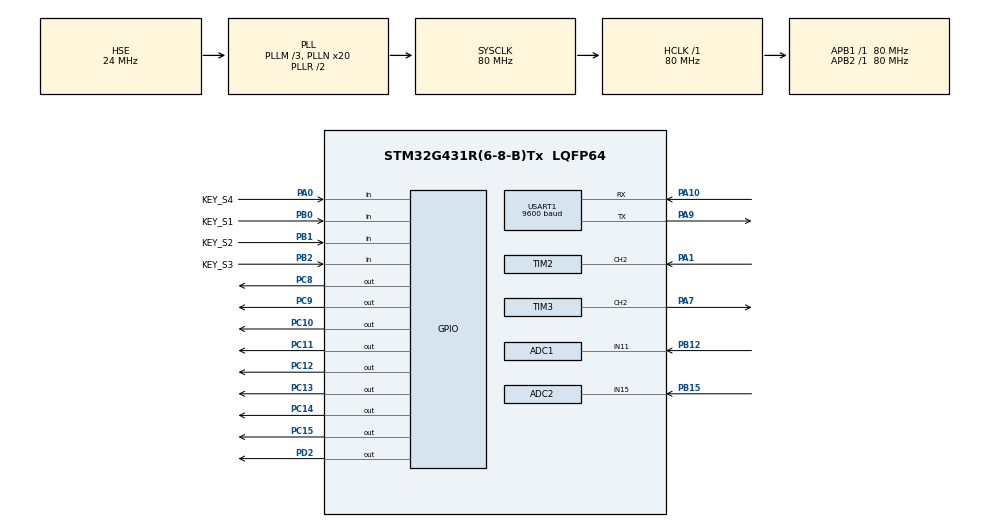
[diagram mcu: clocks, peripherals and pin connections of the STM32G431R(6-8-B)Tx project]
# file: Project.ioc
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ADC1.Channel-0\#ChannelRegularConversion=ADC_CHANNEL_11
ADC1.ContinuousConvMode=ENABLE
ADC1.NbrOfConversionFlag=1
ADC1.OffsetNumber-0\#ChannelRegularConversion=ADC_OFFSET_NONE
ADC1.Overrun=ADC_OVR_DATA_OVERWRITTEN
ADC1.Rank-0\#ChannelRegularConversion=1
ADC1.SamplingTime-0\#ChannelRegularConversion=ADC_SAMPLETIME_2CYCLES_5
ADC1.master=1
ADC2.Channel-0\#ChannelRegularConversion=ADC_CHANNEL_15
ADC2.ContinuousConvMode=ENABLE
ADC2.NbrOfConversionFlag=1
ADC2.OffsetNumber-0\#ChannelRegularConversion=ADC_OFFSET_NONE
ADC2.Overrun=ADC_OVR_DATA_OVERWRITTEN
ADC2.Rank-0\#ChannelRegularConversion=1
ADC2.SamplingTime-0\#ChannelRegularConversion=ADC_SAMPLETIME_2CYCLES_5
Dma.Request0=USART1_TX
Dma.Request1=USART1_RX
Dma.USART1_RX.1.Direction=DMA_PERIPH_TO_MEMORY
Dma.USART1_RX.1.EventEnable=DISABLE
Dma.USART1_RX.1.Instance=DMA1_Channel2
Dma.USART1_RX.1.MemDataAlignment=DMA_MDATAALIGN_BYTE
Dma.USART1_RX.1.MemInc=DMA_MINC_ENABLE
Dma.USART1_RX.1.Mode=DMA_NORMAL
Dma.USART1_RX.1.PeriphDataAlignment=DMA_PDATAALIGN_BYTE
Dma.USART1_RX.1.PeriphInc=DMA_PINC_DISABLE
Dma.USART1_RX.1.Polarity=HAL_DMAMUX_REQ_GEN_RISING
Dma.USART1_RX.1.Priority=DMA_PRIORITY_LOW
Dma.USART1_RX.1.RequestNumber=1
Dma.USART1_RX.1.SignalID=NONE
Dma.USART1_RX.1.SyncEnable=DISABLE
Dma.USART1_RX.1.SyncPolarity=HAL_DMAMUX_SYNC_NO_EVENT
Dma.USART1_RX.1.SyncRequestNumber=1
Dma.USART1_RX.1.SyncSignalID=NONE
Dma.USART1_TX.0.Direction=DMA_MEMORY_TO_PERIPH
Dma.USART1_TX.0.EventEnable=DISABLE
Dma.USART1_TX.0.Instance=DMA1_Channel1
Dma.USART1_TX.0.MemDataAlignment=DMA_MDATAALIGN_BYTE
Dma.USART1_TX.0.MemInc=DMA_MINC_ENABLE
Dma.USART1_TX.0.Mode=DMA_NORMAL
Dma.USART1_TX.0.PeriphDataAlignment=DMA_PDATAALIGN_BYTE
Dma.USART1_TX.0.PeriphInc=DMA_PINC_DISABLE
Dma.USART1_TX.0.Polarity=HAL_DMAMUX_REQ_GEN_RISING
Dma.USART1_TX.0.Priority=DMA_PRIORITY_LOW
Dma.USART1_TX.0.RequestNumber=1
Dma.USART1_TX.0.SignalID=NONE
Dma.USART1_TX.0.SyncEnable=DISABLE
Dma.USART1_TX.0.SyncPolarity=HAL_DMAMUX_SYNC_NO_EVENT
Dma.USART1_TX.0.SyncRequestNumber=1
Dma.USART1_TX.0.SyncSignalID=NONE
Mcu.Family=STM32G4
Mcu.Name=STM32G431R(6-8-B)Tx
Mcu.Package=LQFP64
NVIC.DMA1_Channel1_IRQn=true\:0\:0\:false\:false\:true\:false\:true\:true
NVIC.DMA1_Channel2_IRQn=true\:0\:0\:false\:false\:true\:false\:true\:true
NVIC.PriorityGroup=NVIC_PRIORITYGROUP_4
NVIC.TIM1_TRG_COM_TIM17_IRQn=true\:1\:0\:true\:false\:true\:true\:true\:true
NVIC.USART1_IRQn=true\:0\:0\:false\:false\:true\:true\:true\:true
PA0.GPIO_Label=KEY_S4
PA0.Signal=GPIO_Input
PA1.Signal=S_TIM2_CH2
PA10.Mode=Asynchronous
PA10.Signal=USART1_RX
PA13.Mode=Serial_Wire
PA13.Signal=SYS_JTMS-SWDIO
PA14.Mode=Serial_Wire
PA14.Signal=SYS_JTCK-SWCLK
PA7.Signal=S_TIM3_CH2
PA9.Mode=Asynchronous
PA9.Signal=USART1_TX
PB0.GPIO_Label=KEY_S1
PB0.Signal=GPIO_Input
PB1.GPIO_Label=KEY_S2
PB1.Signal=GPIO_Input
PB12.Mode=IN11-Single-Ended
PB12.Signal=ADC1_IN11
PB15.Mode=IN15-Single-Ended
PB15.Signal=ADC2_IN15
PB2.GPIO_Label=KEY_S3
PB2.Signal=GPIO_Input
PC10.Signal=GPIO_Output
PC11.Signal=GPIO_Output
PC12.Signal=GPIO_Output
PC13.Signal=GPIO_Output
PC14-OSC32_IN.Signal=GPIO_Output
PC15-OSC32_OUT.Signal=GPIO_Output
PC8.Signal=GPIO_Output
PC9.Signal=GPIO_Output
PD2.Signal=GPIO_Output
PF0-OSC_IN.Mode=HSE-External-Oscillator
PF0-OSC_IN.Signal=RCC_OSC_IN
PF1-OSC_OUT.Mode=HSE-External-Oscillator
PF1-OSC_OUT.Signal=RCC_OSC_OUT
ProjectManager.HeapSize=0x0
ProjectManager.StackSize=0x1000
ProjectManager.TargetToolchain=MDK-ARM V5.32
RCC.ADC12Freq_Value=80000000
RCC.AHBFreq_Value=80000000
RCC.APB1Freq_Value=80000000
RCC.APB1TimFreq_Value=80000000
RCC.APB2Freq_Value=80000000
RCC.APB2TimFreq_Value=80000000
RCC.CortexFreq_Value=80000000
RCC.EXTERNAL_CLOCK_VALUE=12288000
RCC.HCLKFreq_Value=80000000
RCC.HSE_VALUE=24000000
RCC.HSI48_VALUE=48000000
RCC.HSI_VALUE=16000000
RCC.LSE_VALUE=32768
RCC.PLLM=RCC_PLLM_DIV3
RCC.PLLN=20
RCC.PLLSourceVirtual=RCC_PLLSOURCE_HSE
RCC.SYSCLKFreq_VALUE=80000000
RCC.SYSCLKSource=RCC_SYSCLKSOURCE_PLLCLK
RCC.USBFreq_Value=80000000
RCC.VCOOutputFreq_Value=160000000
SH.S_TIM2_CH2.0=TIM2_CH2,PWM_Input_2
SH.S_TIM3_CH2.0=TIM3_CH2,PWM Generation2 CH2
TIM17.PeriodNoDither=9999
TIM17.Prescaler=79
TIM2.ICPolarity_1=TIM_INPUTCHANNELPOLARITY_FALLING
TIM2.Prescaler=79
TIM3.Channel-PWM\ Generation2\ CH2=TIM_CHANNEL_2
TIM3.PeriodNoDither=9
TIM3.Prescaler=7999
TIM3.PulseNoDither_2=1
USART1.BaudRate=9600
USART1.VirtualMode-Asynchronous=VM_ASYNC
VP_SYS_VS_DBSignals.Mode=DisableDeadBatterySignals
VP_TIM17_VS_ClockSourceINT.Mode=Enable_Timer
board=custom

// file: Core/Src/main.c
/* USER CODE BEGIN Header */
/**
  ******************************************************************************
  * @file           : main.c
  * @brief          : Main program body
  ******************************************************************************
  * @attention
  *
  * Copyright (c) 2025 STMicroelectronics.
  * All rights reserved.
  *
  * This software is licensed under terms that can be found in the LICENSE file
  * in the root directory of this software component.
  * If no LICENSE file comes with this software, it is provided AS-IS.
  *
  ******************************************************************************
  */
/* USER CODE END Header */
#include "main.h"
#include "adc.h"
#include "dma.h"
#include "tim.h"
#include "usart.h"
#include "gpio.h"

/* USER CODE BEGIN Includes */
#include "lcd.h"

/* USER CODE END Includes */

/* USER CODE BEGIN PV */
myUART_HandleTypeDef myUART = { .huart = &huart1 };

/* USER CODE END PV */

void SystemClock_Config(void);
/* USER CODE BEGIN PFP */
float LinearMap(float x, float xmin, float xmax, float ymin, float ymax);
void LCD_ShowString(uint8_t Line, const char *format, ...);
void Key_Process(uint8_t keyNum);

/* USER CODE END PFP */

/* USER CODE BEGIN 0 */
void HAL_UARTEx_RxEventCallback(UART_HandleTypeDef *huart, uint16_t Size)
{
	if (huart == myUART.huart && huart->RxEventType != HAL_UART_RXEVENT_HT)
	{
		myUART_Transmit_DMA(&myUART, "RxMsg: %s", myUART.RxMsg);
		myUART_Start_Receive_DMA(&myUART);
	}
}

void HAL_TIM_PeriodElapsedCallback(TIM_HandleTypeDef *htim)
{
	if (htim == &htim17)
	{
		Key_Process(Key_Read());
	}
}

/* USER CODE END 0 */

int main(void)
{

  /* MCU Configuration--------------------------------------------------------*/

  /* Reset of all peripherals, Initializes the Flash interface and the Systick. */
  HAL_Init();

  /* Configure the system clock */
  SystemClock_Config();

  /* Initialize all configured peripherals */
  MX_GPIO_Init();
  MX_DMA_Init();
  MX_USART1_UART_Init();
  MX_TIM17_Init();
  MX_TIM3_Init();
  MX_TIM2_Init();
  MX_ADC1_Init();
  MX_ADC2_Init();
  /* USER CODE BEGIN 2 */
  LED_WR(0x00);
  LCD_Init();
  LCD_Clear(Black);
  LCD_SetBackColor(Black);
  LCD_SetTextColor(White);
  LCD_ShowString(Line3, "        DATA        ");
  myUART_Transmit_DMA(&myUART, "G431RBT6 UART1 Connected.\r\n");
  myUART_Transmit_DMA(&myUART, "Continuous sending test.\r\n");
  myUART_Start_Receive_DMA(&myUART);

  HAL_ADC_Start(&hadc1);
  HAL_ADC_Start(&hadc2);
  HAL_TIM_IC_Start(&htim2, TIM_CHANNEL_1);
  HAL_TIM_IC_Start(&htim2, TIM_CHANNEL_2);
  HAL_TIM_PWM_Start(&htim3, TIM_CHANNEL_2);
  HAL_TIM_Base_Start_IT(&htim17);

  /* USER CODE END 2 */

  /* Infinite loop */
  /* USER CODE BEGIN WHILE */
  while (1)
  {
	uint32_t period = TIM2->CCR2 + 1;
	uint32_t pulse = TIM2->CCR1 + 1;
	LCD_ShowString(Line4, "    Freq:%5.2fkHz", 1000.0 / period);
	LCD_ShowString(Line5, "    Duty:%5.2f%%", 100.0 * pulse / period);

    /* USER CODE END WHILE */

  }
}

void SystemClock_Config(void)
{
  RCC_OscInitTypeDef RCC_OscInitStruct = {0};
  RCC_ClkInitTypeDef RCC_ClkInitStruct = {0};

  /** Configure the main internal regulator output voltage
  */
  HAL_PWREx_ControlVoltageScaling(PWR_REGULATOR_VOLTAGE_SCALE1);

  /** Initializes the RCC Oscillators according to the specified parameters
  * in the RCC_OscInitTypeDef structure.
  */
  RCC_OscInitStruct.OscillatorType = RCC_OSCILLATORTYPE_HSE;
  RCC_OscInitStruct.HSEState = RCC_HSE_ON;
  RCC_OscInitStruct.PLL.PLLState = RCC_PLL_ON;
  RCC_OscInitStruct.PLL.PLLSource = RCC_PLLSOURCE_HSE;
  RCC_OscInitStruct.PLL.PLLM = RCC_PLLM_DIV3;
  RCC_OscInitStruct.PLL.PLLN = 20;
  RCC_OscInitStruct.PLL.PLLP = RCC_PLLP_DIV2;
  RCC_OscInitStruct.PLL.PLLQ = RCC_PLLQ_DIV2;
  RCC_OscInitStruct.PLL.PLLR = RCC_PLLR_DIV2;
  if (HAL_RCC_OscConfig(&RCC_OscInitStruct) != HAL_OK)
  {
    Error_Handler();
  }

  /** Initializes the CPU, AHB and APB buses clocks
  */
  RCC_ClkInitStruct.ClockType = RCC_CLOCKTYPE_HCLK|RCC_CLOCKTYPE_SYSCLK
                              |RCC_CLOCKTYPE_PCLK1|RCC_CLOCKTYPE_PCLK2;
  RCC_ClkInitStruct.SYSCLKSource = RCC_SYSCLKSOURCE_PLLCLK;
  RCC_ClkInitStruct.AHBCLKDivider = RCC_SYSCLK_DIV1;
  RCC_ClkInitStruct.APB1CLKDivider = RCC_HCLK_DIV1;
  RCC_ClkInitStruct.APB2CLKDivider = RCC_HCLK_DIV1;

  if (HAL_RCC_ClockConfig(&RCC_ClkInitStruct, FLASH_LATENCY_2) != HAL_OK)
  {
    Error_Handler();
  }
}

/* USER CODE BEGIN 4 */
void LCD_ShowString(uint8_t Line, const char *format, ...)
{
	char str[21];
	va_list ap;
	va_start(ap, format);
	int xnum = vsnprintf(str, 21, format, ap);
	va_end(ap);
	while (xnum < 20) str[xnum++] = 32;
	LCD_DisplayStringLine(Line, (uint8_t *)str);
}

void Key_Process(uint8_t keyNum)
{
	static uint16_t target = 1;
	if (keyNum == 0x00) return;
	if ((keyNum & 0x7F) == 0x01) target = target == 10 ? 1: target + 1;
	if ((keyNum & 0x7F) == 0x02) target = target == 1 ? 10: target - 1;
	TIM3->PSC = 8000 / target - 1;
}

float LinearMap(float x, float xmin, float xmax, float ymin, float ymax)
{
	if (x <= xmin) return ymin;
	if (x >= xmax) return ymax;
	return ymin + (x - xmin) * (ymax - ymin) / (xmax - xmin);
}

/* USER CODE END 4 */

void Error_Handler(void)
{
  __disable_irq();
  while (1)
  {
  }
}
